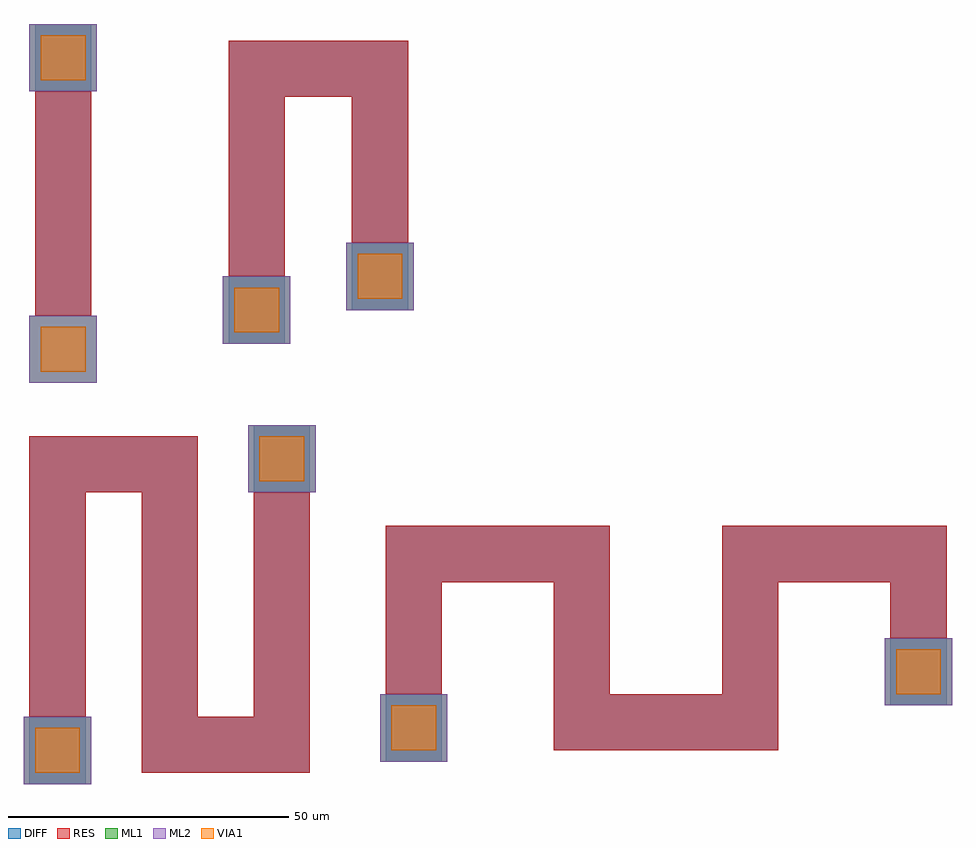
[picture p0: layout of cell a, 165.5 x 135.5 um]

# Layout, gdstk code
import gdstk
lib = gdstk.Library(unit=1e-6, precision=1e-09)
def R(c, l, rs):  # rectangles x0, y0, x1, y1
    for r in rs: c.add(gdstk.rectangle(r[:2], r[2:], *l))
DIFF = (3, 0)
ML1 = (8, 0)
VIA1 = (9, 0)
ML2 = (10, 0)
RES = (15, 0)

r_diff = lib.new_cell('R_diff')
R(r_diff, ML1, [(0,0,12,12), (0,52,12,64)])
R(r_diff, VIA1, [(2,2,10,10), (2,54,10,62)])
R(r_diff, ML2, [(0,0,12,12), (0,52,12,64)])
r_diff.add(gdstk.FlexPath([(6,12),(6,64)], 10, ends="flush", simple_path=True, layer=3, datatype=0))  # DIFF
r_diff.add(gdstk.FlexPath([(6,12),(6,52)], 10, ends="flush", simple_path=True, layer=15, datatype=0))  # RES

r_diff_5 = lib.new_cell('R_diff$5')
R(r_diff_5, ML1, [(0,0,12,12), (22,6,34,18)])
R(r_diff_5, VIA1, [(2,2,10,10), (24,8,32,16)])
R(r_diff_5, ML2, [(0,0,12,12), (22,6,34,18)])
r_diff_5.add(gdstk.FlexPath([(6,0),(6,44)], 10, ends="flush", simple_path=True, layer=3, datatype=0))  # DIFF
r_diff_5.add(gdstk.FlexPath([(28,6),(28,44)], 10, ends="flush", simple_path=True, layer=3, datatype=0))  # DIFF
r_diff_5.add(gdstk.FlexPath([(28,49),(6,49)], 10, ends="extended", simple_path=True, layer=3, datatype=0))  # DIFF
r_diff_5.add(gdstk.FlexPath([(6,12),(6,44)], 10, ends="flush", simple_path=True, layer=15, datatype=0))  # RES
r_diff_5.add(gdstk.FlexPath([(28,18),(28,44)], 10, ends="flush", simple_path=True, layer=15, datatype=0))  # RES
r_diff_5.add(gdstk.FlexPath([(28,49),(6,49)], 10, ends="extended", simple_path=True, layer=15, datatype=0))  # RES

r_diff_2 = lib.new_cell('R_diff$2')
R(r_diff_2, ML1, [(0,0,12,12), (40,52,52,64)])
R(r_diff_2, VIA1, [(2,2,10,10), (42,54,50,62)])
R(r_diff_2, ML2, [(0,0,12,12), (40,52,52,64)])
r_diff_2.add(gdstk.FlexPath([(6,0),(6,52)], 10, ends="flush", simple_path=True, layer=3, datatype=0))  # DIFF
r_diff_2.add(gdstk.FlexPath([(26,12),(26,52)], 10, ends="flush", simple_path=True, layer=3, datatype=0))  # DIFF
r_diff_2.add(gdstk.FlexPath([(26,57),(6,57)], 10, ends="extended", simple_path=True, layer=3, datatype=0))  # DIFF
r_diff_2.add(gdstk.FlexPath([(46,12),(46,64)], 10, ends="flush", simple_path=True, layer=3, datatype=0))  # DIFF
r_diff_2.add(gdstk.FlexPath([(46,7),(26,7)], 10, ends="extended", simple_path=True, layer=3, datatype=0))  # DIFF
r_diff_2.add(gdstk.FlexPath([(6,12),(6,52)], 10, ends="flush", simple_path=True, layer=15, datatype=0))  # RES
r_diff_2.add(gdstk.FlexPath([(26,12),(26,52)], 10, ends="flush", simple_path=True, layer=15, datatype=0))  # RES
r_diff_2.add(gdstk.FlexPath([(26,57),(6,57)], 10, ends="extended", simple_path=True, layer=15, datatype=0))  # RES
r_diff_2.add(gdstk.FlexPath([(46,12),(46,52)], 10, ends="flush", simple_path=True, layer=15, datatype=0))  # RES
r_diff_2.add(gdstk.FlexPath([(46,7),(26,7)], 10, ends="extended", simple_path=True, layer=15, datatype=0))  # RES

r_diff_4 = lib.new_cell('R_diff$4')
R(r_diff_4, ML1, [(0,0,12,12), (90,10,102,22)])
R(r_diff_4, VIA1, [(2,2,10,10), (92,12,100,20)])
R(r_diff_4, ML2, [(0,0,12,12), (90,10,102,22)])
r_diff_4.add(gdstk.FlexPath([(6,0),(6,32)], 10, ends="flush", simple_path=True, layer=3, datatype=0))  # DIFF
r_diff_4.add(gdstk.FlexPath([(36,12),(36,32)], 10, ends="flush", simple_path=True, layer=3, datatype=0))  # DIFF
r_diff_4.add(gdstk.FlexPath([(36,37),(6,37)], 10, ends="extended", simple_path=True, layer=3, datatype=0))  # DIFF
r_diff_4.add(gdstk.FlexPath([(66,12),(66,32)], 10, ends="flush", simple_path=True, layer=3, datatype=0))  # DIFF
r_diff_4.add(gdstk.FlexPath([(66,7),(36,7)], 10, ends="extended", simple_path=True, layer=3, datatype=0))  # DIFF
r_diff_4.add(gdstk.FlexPath([(96,10),(96,32)], 10, ends="flush", simple_path=True, layer=3, datatype=0))  # DIFF
r_diff_4.add(gdstk.FlexPath([(96,37),(66,37)], 10, ends="extended", simple_path=True, layer=3, datatype=0))  # DIFF
r_diff_4.add(gdstk.FlexPath([(6,12),(6,32)], 10, ends="flush", simple_path=True, layer=15, datatype=0))  # RES
r_diff_4.add(gdstk.FlexPath([(36,12),(36,32)], 10, ends="flush", simple_path=True, layer=15, datatype=0))  # RES
r_diff_4.add(gdstk.FlexPath([(36,37),(6,37)], 10, ends="extended", simple_path=True, layer=15, datatype=0))  # RES
r_diff_4.add(gdstk.FlexPath([(66,12),(66,32)], 10, ends="flush", simple_path=True, layer=15, datatype=0))  # RES
r_diff_4.add(gdstk.FlexPath([(66,7),(36,7)], 10, ends="extended", simple_path=True, layer=15, datatype=0))  # RES
r_diff_4.add(gdstk.FlexPath([(96,22),(96,32)], 10, ends="flush", simple_path=True, layer=15, datatype=0))  # RES
r_diff_4.add(gdstk.FlexPath([(96,37),(66,37)], 10, ends="extended", simple_path=True, layer=15, datatype=0))  # RES

c_a = lib.new_cell('a')
c_a.add(gdstk.Reference(r_diff, (-47,0.5)))
c_a.add(gdstk.Reference(r_diff_5, (-12.5,7.5)))
c_a.add(gdstk.Reference(r_diff_2, (-48,-71)))
c_a.add(gdstk.Reference(r_diff_4, (15.5,-67)))

lib.write_gds('a.gds')
